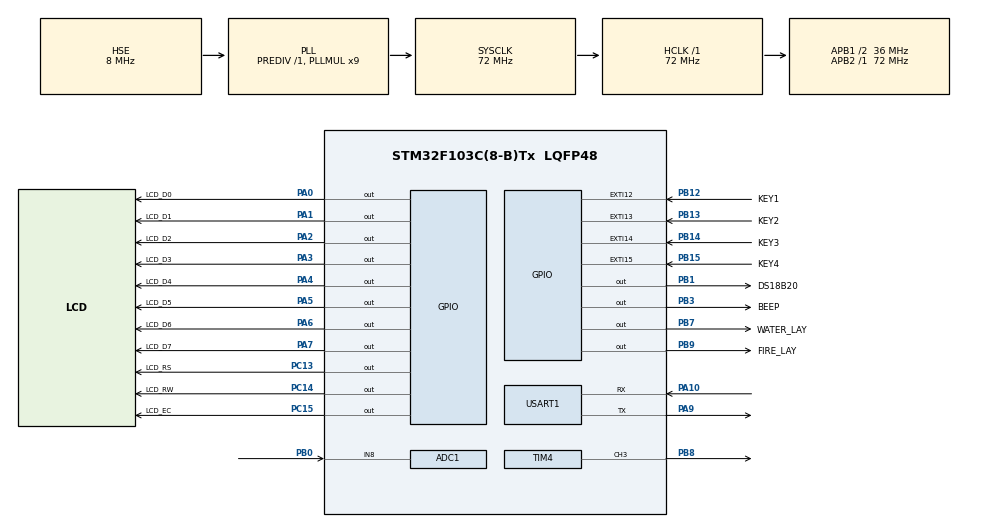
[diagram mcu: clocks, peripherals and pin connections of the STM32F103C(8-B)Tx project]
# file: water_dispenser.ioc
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ADC1.Channel-0\#ChannelRegularConversion=ADC_CHANNEL_8
ADC1.NbrOfConversionFlag=1
ADC1.Rank-0\#ChannelRegularConversion=1
ADC1.SamplingTime-0\#ChannelRegularConversion=ADC_SAMPLETIME_1CYCLE_5
ADC1.master=1
Dma.Request0=USART1_RX
Dma.USART1_RX.0.Direction=DMA_PERIPH_TO_MEMORY
Dma.USART1_RX.0.Instance=DMA1_Channel5
Dma.USART1_RX.0.MemDataAlignment=DMA_MDATAALIGN_BYTE
Dma.USART1_RX.0.MemInc=DMA_MINC_ENABLE
Dma.USART1_RX.0.Mode=DMA_NORMAL
Dma.USART1_RX.0.PeriphDataAlignment=DMA_PDATAALIGN_BYTE
Dma.USART1_RX.0.PeriphInc=DMA_PINC_DISABLE
Dma.USART1_RX.0.Priority=DMA_PRIORITY_LOW
Mcu.Family=STM32F1
Mcu.Name=STM32F103C(8-B)Tx
Mcu.Package=LQFP48
NVIC.DMA1_Channel5_IRQn=true\:0\:0\:false\:false\:true\:false\:true\:true
NVIC.EXTI15_10_IRQn=true\:0\:0\:false\:false\:true\:true\:true\:true
NVIC.PriorityGroup=NVIC_PRIORITYGROUP_4
NVIC.USART1_IRQn=true\:0\:0\:false\:false\:true\:true\:true\:true
PA0-WKUP.GPIO_Label=LCD_D0
PA0-WKUP.GPIO_PuPd=GPIO_NOPULL
PA0-WKUP.GPIO_Speed=GPIO_SPEED_FREQ_MEDIUM
PA0-WKUP.PinState=GPIO_PIN_SET
PA0-WKUP.Signal=GPIO_Output
PA1.GPIO_Label=LCD_D1
PA1.GPIO_ModeDefaultOutputPP=GPIO_MODE_OUTPUT_PP
PA1.GPIO_PuPd=GPIO_NOPULL
PA1.GPIO_Speed=GPIO_SPEED_FREQ_MEDIUM
PA1.PinState=GPIO_PIN_SET
PA1.Signal=GPIO_Output
PA10.Mode=Asynchronous
PA10.Signal=USART1_RX
PA13.Mode=Serial_Wire
PA13.Signal=SYS_JTMS-SWDIO
PA14.Mode=Serial_Wire
PA14.Signal=SYS_JTCK-SWCLK
PA2.GPIO_Label=LCD_D2
PA2.GPIO_PuPd=GPIO_NOPULL
PA2.GPIO_Speed=GPIO_SPEED_FREQ_MEDIUM
PA2.PinState=GPIO_PIN_SET
PA2.Signal=GPIO_Output
PA3.GPIO_Label=LCD_D3
PA3.GPIO_Speed=GPIO_SPEED_FREQ_MEDIUM
PA3.PinState=GPIO_PIN_SET
PA3.Signal=GPIO_Output
PA4.GPIO_Label=LCD_D4
PA4.GPIO_Speed=GPIO_SPEED_FREQ_MEDIUM
PA4.PinState=GPIO_PIN_SET
PA4.Signal=GPIO_Output
PA5.GPIO_Label=LCD_D5
PA5.GPIO_PuPd=GPIO_NOPULL
PA5.GPIO_Speed=GPIO_SPEED_FREQ_MEDIUM
PA5.PinState=GPIO_PIN_SET
PA5.Signal=GPIO_Output
PA6.GPIO_Label=LCD_D6
PA6.GPIO_Speed=GPIO_SPEED_FREQ_MEDIUM
PA6.PinState=GPIO_PIN_SET
PA6.Signal=GPIO_Output
PA7.GPIO_Label=LCD_D7
PA7.GPIO_Speed=GPIO_SPEED_FREQ_MEDIUM
PA7.PinState=GPIO_PIN_SET
PA7.Signal=GPIO_Output
PA9.Mode=Asynchronous
PA9.Signal=USART1_TX
PB0.Signal=ADCx_IN8
PB1.GPIO_Label=DS18B20
PB1.GPIO_ModeDefaultOutputPP=GPIO_MODE_OUTPUT_PP
PB1.GPIO_PuPd=GPIO_NOPULL
PB1.GPIO_Speed=GPIO_SPEED_FREQ_MEDIUM
PB1.PinState=GPIO_PIN_SET
PB1.Signal=GPIO_Output
PB12.GPIO_Label=KEY1
PB12.GPIO_ModeDefaultEXTI=GPIO_MODE_IT_FALLING
PB12.GPIO_PuPd=GPIO_PULLUP
PB12.Signal=GPXTI12
PB13.GPIO_Label=KEY2
PB13.GPIO_ModeDefaultEXTI=GPIO_MODE_IT_FALLING
PB13.GPIO_PuPd=GPIO_PULLUP
PB13.Signal=GPXTI13
PB14.GPIO_Label=KEY3
PB14.GPIO_ModeDefaultEXTI=GPIO_MODE_IT_FALLING
PB14.GPIO_PuPd=GPIO_PULLUP
PB14.Signal=GPXTI14
PB15.GPIO_Label=KEY4
PB15.GPIO_ModeDefaultEXTI=GPIO_MODE_IT_FALLING
PB15.GPIO_PuPd=GPIO_PULLUP
PB15.Signal=GPXTI15
PB3.GPIO_Label=BEEP
PB3.GPIO_ModeDefaultOutputPP=GPIO_MODE_OUTPUT_PP
PB3.GPIO_PuPd=GPIO_PULLUP
PB3.GPIO_Speed=GPIO_SPEED_FREQ_HIGH
PB3.PinState=GPIO_PIN_SET
PB3.Signal=GPIO_Output
PB7.GPIO_Label=WATER_LAY
PB7.GPIO_PuPd=GPIO_PULLUP
PB7.GPIO_Speed=GPIO_SPEED_FREQ_HIGH
PB7.PinState=GPIO_PIN_SET
PB7.Signal=GPIO_Output
PB8.Signal=S_TIM4_CH3
PB9.GPIO_Label=FIRE_LAY
PB9.GPIO_PuPd=GPIO_PULLUP
PB9.GPIO_Speed=GPIO_SPEED_FREQ_HIGH
PB9.PinState=GPIO_PIN_SET
PB9.Signal=GPIO_Output
PC13-TAMPER-RTC.GPIO_Label=LCD_RS
PC13-TAMPER-RTC.GPIO_PuPd=GPIO_NOPULL
PC13-TAMPER-RTC.GPIO_Speed=GPIO_SPEED_FREQ_MEDIUM
PC13-TAMPER-RTC.PinState=GPIO_PIN_SET
PC13-TAMPER-RTC.Signal=GPIO_Output
PC14-OSC32_IN.GPIO_Label=LCD_RW
PC14-OSC32_IN.GPIO_Speed=GPIO_SPEED_FREQ_MEDIUM
PC14-OSC32_IN.PinState=GPIO_PIN_SET
PC14-OSC32_IN.Signal=GPIO_Output
PC15-OSC32_OUT.GPIO_Label=LCD_EC
PC15-OSC32_OUT.GPIO_Speed=GPIO_SPEED_FREQ_MEDIUM
PC15-OSC32_OUT.PinState=GPIO_PIN_SET
PC15-OSC32_OUT.Signal=GPIO_Output
PD0-OSC_IN.Mode=HSE-External-Oscillator
PD0-OSC_IN.Signal=RCC_OSC_IN
PD1-OSC_OUT.Mode=HSE-External-Oscillator
PD1-OSC_OUT.Signal=RCC_OSC_OUT
ProjectManager.HeapSize=0x200
ProjectManager.StackSize=0x400
ProjectManager.TargetToolchain=MDK-ARM V5.32
RCC.ADCPresc=RCC_ADCPCLK2_DIV6
RCC.AHBFreq_Value=72000000
RCC.APB1CLKDivider=RCC_HCLK_DIV2
RCC.APB1Freq_Value=36000000
RCC.APB1TimFreq_Value=72000000
RCC.APB2Freq_Value=72000000
RCC.APB2TimFreq_Value=72000000
RCC.HCLKFreq_Value=72000000
RCC.PLLMUL=RCC_PLL_MUL9
RCC.PLLSourceVirtual=RCC_PLLSOURCE_HSE
RCC.SYSCLKFreq_VALUE=72000000
RCC.SYSCLKSource=RCC_SYSCLKSOURCE_PLLCLK
RCC.USBFreq_Value=72000000
SH.ADCx_IN8.0=ADC1_IN8,IN8
SH.S_TIM4_CH3.0=TIM4_CH3,PWM Generation3 CH3
TIM4.AutoReloadPreload=TIM_AUTORELOAD_PRELOAD_ENABLE
TIM4.Channel-PWM\ Generation3\ CH3=TIM_CHANNEL_3
TIM4.OCPolarity_3=TIM_OCPOLARITY_HIGH
TIM4.Period=499
TIM4.Prescaler=71
USART1.VirtualMode=VM_ASYNC
VP_TIM4_VS_ClockSourceINT.Mode=Internal
board=custom

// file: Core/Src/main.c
/* USER CODE BEGIN Header */
/**
  ******************************************************************************
  * @file           : main.c
  * @brief          : Main program body
  ******************************************************************************
  * @attention
  *
  * Copyright (c) 2025 STMicroelectronics.
  * All rights reserved.
  *
  * This software is licensed under terms that can be found in the LICENSE file
  * in the root directory of this software component.
  * If no LICENSE file comes with this software, it is provided AS-IS.
  *
  ******************************************************************************
  */
/* USER CODE END Header */
#include "main.h"
#include "adc.h"
#include "dma.h"
#include "tim.h"
#include "usart.h"
#include "gpio.h"

/* USER CODE BEGIN Includes */
#include "lcd_1602.h"
#include "esp8266.h"
#include "ds18b20.h"
/* USER CODE END Includes */

/* USER CODE BEGIN PTD */
int temp_ban = 26;
int water_ban= 1;
/* USER CODE END PTD */

void SystemClock_Config(void);

int main(void)
{

  /* USER CODE BEGIN 1 */
	bool fire_status = false;
	uint16_t adcx = 0;
	float adcy;
	char data_light[10]={0},data_show[10],data_tmp[4];
	  float num_d;;
	char send_wifi_data[30];
	static int _count_data=0;
  /* USER CODE END 1 */

  /* MCU Configuration--------------------------------------------------------*/

  /* Reset of all peripherals, Initializes the Flash interface and the Systick. */
  HAL_Init();

  /* Configure the system clock */
  SystemClock_Config();

  /* Initialize all configured peripherals */
  MX_GPIO_Init();
  MX_DMA_Init();
  MX_TIM4_Init();
  MX_ADC1_Init();
  MX_USART1_UART_Init();
  /* USER CODE BEGIN 2 */
		LCD_INIT();
		DS_Init();

		HAL_TIM_PWM_Start(&htim4,TIM_CHANNEL_3);

		firelay_control(false);
		water_control(false);
		start_esp8266();
//		beep_control(true);
  /* USER CODE END 2 */

  /* Infinite loop */
  while (1)
  {

    /* USER CODE BEGIN 3 */
		HAL_ADC_Start(&hadc1);
		HAL_ADC_PollForConversion(&hadc1,10);
		adcx = (uint16_t)HAL_ADC_GetValue(&hadc1);
		adcy = (float)adcx*3.3/4096;
		sprintf(data_light,"Stage:%.3f",adcy);
		lcd1602_show_string(0,1,data_light);

		num_d = Get_DS_Temperature();
		sprintf(data_show,"temp:%0.2f",num_d);
		lcd1602_show_string(0,0,data_show);

		sprintf(data_tmp,"%02d",temp_ban);
		lcd1602_show_string(12,0,data_tmp);

				sprintf(data_tmp,"%02d",water_ban);
		lcd1602_show_string(12,1,data_tmp);

		_count_data++;
		if(_count_data/20)
		{
			_count_data=0;
						sprintf(send_wifi_data,"temp:%0.2f water:%0.3f\r\n",num_d,adcy);
		send_wifi(send_wifi_data,30);
		}

		handle_esp8266();

		if(num_d>temp_ban)  //温度大于阈值了
		{
				firelay_control(false);
				__HAL_TIM_SetCompare(&htim4,TIM_CHANNEL_3,5);
		}
		else
		{
				__HAL_TIM_SetCompare(&htim4,TIM_CHANNEL_3,25);
		}

		if(adcy<water_ban)
		{
				beep_control(true);
		}
		else
		{
				beep_control(false);
		}

     if(botton==KEY1)
		 {
			   HAL_Delay(100);
			   botton=UNPRESS;
				fire_status=!fire_status;
				firelay_control(fire_status);

		 }

		 if(botton==KEY2)
		 {
			   HAL_Delay(100);
			   botton=UNPRESS;
					water_control(true);
			 __HAL_TIM_SetCompare(&htim4,TIM_CHANNEL_3,25);
			 			   HAL_Delay(300);
					water_control(false);
		 }

		 if(botton==KEY3)
		 {
			   HAL_Delay(100);
			   botton=UNPRESS;
				temp_ban--;
			  if(temp_ban<0)
					temp_ban=99;
		 }

		 	if(botton==KEY4)
		 {
			   HAL_Delay(100);
			   botton=UNPRESS;
				 temp_ban++;
			   if(temp_ban>99)
					 temp_ban=0;
		 }

  }
  /* USER CODE END 3 */
}

void SystemClock_Config(void)
{
  RCC_OscInitTypeDef RCC_OscInitStruct = {0};
  RCC_ClkInitTypeDef RCC_ClkInitStruct = {0};
  RCC_PeriphCLKInitTypeDef PeriphClkInit = {0};

  /** Initializes the RCC Oscillators according to the specified parameters
  * in the RCC_OscInitTypeDef structure.
  */
  RCC_OscInitStruct.OscillatorType = RCC_OSCILLATORTYPE_HSE;
  RCC_OscInitStruct.HSEState = RCC_HSE_ON;
  RCC_OscInitStruct.HSEPredivValue = RCC_HSE_PREDIV_DIV1;
  RCC_OscInitStruct.HSIState = RCC_HSI_ON;
  RCC_OscInitStruct.PLL.PLLState = RCC_PLL_ON;
  RCC_OscInitStruct.PLL.PLLSource = RCC_PLLSOURCE_HSE;
  RCC_OscInitStruct.PLL.PLLMUL = RCC_PLL_MUL9;
  if (HAL_RCC_OscConfig(&RCC_OscInitStruct) != HAL_OK)
  {
    Error_Handler();
  }

  /** Initializes the CPU, AHB and APB buses clocks
  */
  RCC_ClkInitStruct.ClockType = RCC_CLOCKTYPE_HCLK|RCC_CLOCKTYPE_SYSCLK
                              |RCC_CLOCKTYPE_PCLK1|RCC_CLOCKTYPE_PCLK2;
  RCC_ClkInitStruct.SYSCLKSource = RCC_SYSCLKSOURCE_PLLCLK;
  RCC_ClkInitStruct.AHBCLKDivider = RCC_SYSCLK_DIV1;
  RCC_ClkInitStruct.APB1CLKDivider = RCC_HCLK_DIV2;
  RCC_ClkInitStruct.APB2CLKDivider = RCC_HCLK_DIV1;

  if (HAL_RCC_ClockConfig(&RCC_ClkInitStruct, FLASH_LATENCY_2) != HAL_OK)
  {
    Error_Handler();
  }
  PeriphClkInit.PeriphClockSelection = RCC_PERIPHCLK_ADC;
  PeriphClkInit.AdcClockSelection = RCC_ADCPCLK2_DIV6;
  if (HAL_RCCEx_PeriphCLKConfig(&PeriphClkInit) != HAL_OK)
  {
    Error_Handler();
  }
}

void Error_Handler(void)
{
  __disable_irq();
  while (1)
  {
  }
}
